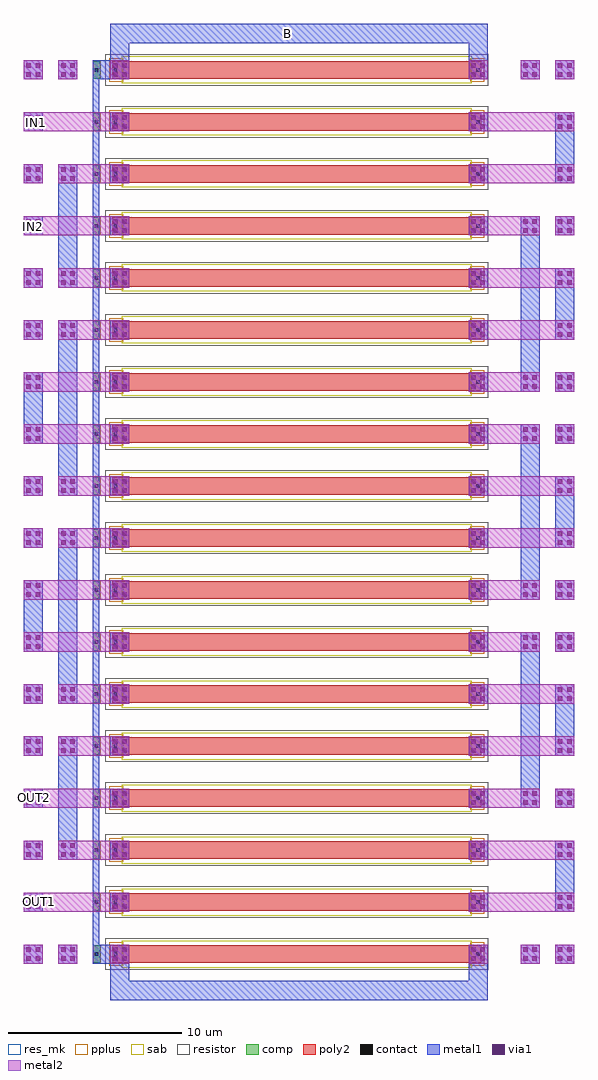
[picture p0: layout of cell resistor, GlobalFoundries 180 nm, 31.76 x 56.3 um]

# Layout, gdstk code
import gdstk
lib = gdstk.Library(unit=1e-6, precision=1e-09)
def R(c, l, rs):  # rectangles x0, y0, x1, y1
    for r in rs: c.add(gdstk.rectangle(r[:2], r[2:], *l))
comp = (22, 0)
poly2 = (30, 0)
pplus = (31, 0)
contact = (33, 0)
metal1 = (34, 0)
via1 = (35, 0)
metal2 = (36, 0)
sab = (49, 0)
resistor = (62, 0)
res_mk = (110, 5)

via_m1_m2_1_1_1_1 = lib.new_cell('via_M1_M2_1.1_1.1')
R(via_m1_m2_1_1_1_1, metal1, [(-0.55,-0.55,0.55,0.55)])
R(via_m1_m2_1_1_1_1, via1, [(-0.395,-0.395,-0.135,-0.135), (0.135,-0.395,0.395,-0.135), (-0.395,0.135,-0.135,0.395), (0.135,0.135,0.395,0.395)])
R(via_m1_m2_1_1_1_1, metal2, [(-0.55,-0.55,0.55,0.55)])

res_dev = lib.new_cell('res_dev')
R(res_dev, comp, [(-1.89,0,-1.47,1)])
R(res_dev, poly2, [(-0.77,0,20.51,1)])
R(res_dev, pplus, [(-0.95,-0.18,-0.13,1.18), (19.87,-0.18,20.69,1.18), (-1.91,-0.02,-1.45,1.02)])
R(res_dev, contact, [(-1.79,0.39,-1.57,0.61), (-0.7,0.39,-0.48,0.61), (20.22,0.39,20.44,0.61)])
R(res_dev, metal1, [(-1.87,0.309,-1.49,0.691), (-0.78,0.309,-0.4,0.691), (20.14,0.309,20.52,0.691)])
R(res_dev, sab, [(-0.23,-0.28,19.97,1.28)])
R(res_dev, resistor, [(-1.17,-0.4,20.91,1.4)])
R(res_dev, res_mk, [(-0.13,0,19.87,1)])

resistor_ = lib.new_cell('resistor')
R(resistor_, metal1, [(-0.88,-2.15,20.88,-1.05), (-0.88,-2.15,0.22,1.05), (19.78,-2.15,20.88,1.05), (-1.89,-0.05,0.22,1.05), (24.78,3.43,25.88,6.63), (-3.88,6.28,-2.78,12.615), (22.78,9.355,23.88,18.58), (24.78,12.44,25.88,15.58), (-3.88,15.235,-2.78,24.595), (-5.88,18.32,-4.78,21.59), (22.78,21.395,23.88,30.555), (24.78,24.48,25.88,27.56), (-3.88,27.4,-2.78,36.48), (-5.88,30.425,-4.78,33.695), (22.78,33.17,23.88,42.59), (24.78,36.48,25.88,39.535), (-3.88,39.355,-2.78,45.685), (24.78,45.315,25.88,48.53), (-1.89,50.95,0.22,52.05), (-0.88,50.95,0.22,54.15), (19.78,50.95,20.88,54.15), (-0.88,53.05,20.88,54.15)])
R(resistor_, metal2, [(-5.31,2.95,-0.12,4.05), (20.155,2.95,25.435,4.05), (-3.23,5.95,-0.15,7.05), (20.245,5.95,25.22,7.05), (-5.365,8.95,-0.195,10.05), (20.415,8.95,23.29,10.05), (-3.59,11.95,-0.09,13.05), (20.365,11.95,25.16,13.05), (-3.35,14.95,-0.15,16.05), (20.125,14.95,25.525,16.05), (-5.365,17.95,-0.26,19.05), (20.28,17.95,23.355,19.05), (-5.495,20.95,-0.325,22.05), (20.28,20.95,23.555,22.05), (-3.35,23.95,-0.24,25.05), (20.065,23.95,25.495,25.05), (-3.3,26.95,-0.415,28.05), (20.47,26.95,25.255,28.05), (-5.45,29.95,-0.435,31.05), (20.225,29.95,23.555,31.05), (-5.345,32.95,-0.325,34.05), (20.065,32.95,23.28,34.05), (-3.385,35.95,-0.495,37.05), (20.385,35.95,25.42,37.05), (-3.57,38.95,-0.38,40.05), (20.305,38.95,25.175,40.05), (-5.505,41.95,-0.11,43.05), (20.39,41.95,23.5,43.05), (-3.425,44.95,-0.205,46.05), (20.43,44.95,25.55,46.05), (-5.32,47.95,-0.195,49.05), (20.315,47.95,25.27,49.05)])
resistor_.add(gdstk.FlexPath([(-1.7,52.05),(-1.7,-0.05)], 0.38, ends="flush", simple_path=True, layer=34, datatype=0))  # metal1
resistor_.add(gdstk.Reference(via_m1_m2_1_1_1_1, (23.33,0.5)))
resistor_.add(gdstk.Reference(via_m1_m2_1_1_1_1, (23.33,9.5)))
resistor_.add(gdstk.Reference(via_m1_m2_1_1_1_1, (23.33,18.5)))
resistor_.add(gdstk.Reference(via_m1_m2_1_1_1_1, (23.33,21.5)))
resistor_.add(gdstk.Reference(via_m1_m2_1_1_1_1, (23.33,30.5)))
resistor_.add(gdstk.Reference(via_m1_m2_1_1_1_1, (23.33,33.5)))
resistor_.add(gdstk.Reference(via_m1_m2_1_1_1_1, (23.33,42.5)))
resistor_.add(gdstk.Reference(via_m1_m2_1_1_1_1, (23.33,51.5)))
resistor_.add(gdstk.Reference(via_m1_m2_1_1_1_1, (25.33,0.5)))
resistor_.add(gdstk.Reference(via_m1_m2_1_1_1_1, (25.33,3.5)))
resistor_.add(gdstk.Reference(via_m1_m2_1_1_1_1, (25.33,6.5)))
resistor_.add(gdstk.Reference(via_m1_m2_1_1_1_1, (25.33,9.5)))
resistor_.add(gdstk.Reference(via_m1_m2_1_1_1_1, (25.33,12.5)))
resistor_.add(gdstk.Reference(via_m1_m2_1_1_1_1, (25.33,15.5)))
resistor_.add(gdstk.Reference(via_m1_m2_1_1_1_1, (25.33,18.5)))
resistor_.add(gdstk.Reference(via_m1_m2_1_1_1_1, (25.33,21.5)))
resistor_.add(gdstk.Reference(via_m1_m2_1_1_1_1, (25.33,24.5)))
resistor_.add(gdstk.Reference(via_m1_m2_1_1_1_1, (25.33,27.5)))
resistor_.add(gdstk.Reference(via_m1_m2_1_1_1_1, (25.33,30.5)))
resistor_.add(gdstk.Reference(via_m1_m2_1_1_1_1, (25.33,33.5)))
resistor_.add(gdstk.Reference(via_m1_m2_1_1_1_1, (25.33,36.5)))
resistor_.add(gdstk.Reference(via_m1_m2_1_1_1_1, (25.33,39.5)))
resistor_.add(gdstk.Reference(via_m1_m2_1_1_1_1, (25.33,42.5)))
resistor_.add(gdstk.Reference(via_m1_m2_1_1_1_1, (25.33,45.5)))
resistor_.add(gdstk.Reference(via_m1_m2_1_1_1_1, (25.33,48.5)))
resistor_.add(gdstk.Reference(via_m1_m2_1_1_1_1, (25.33,51.5)))
r = gdstk.Reference(res_dev, (0,0)); r.repetition = gdstk.Repetition(1, 18, v1=(0,0), v2=(0,3)); resistor_.add(r)
resistor_.add(gdstk.Reference(via_m1_m2_1_1_1_1, (-5.33,3.5)))
r = gdstk.Reference(via_m1_m2_1_1_1_1, (-0.33,0.5)); r.repetition = gdstk.Repetition(2, 18, v1=(20.66,0), v2=(0,3)); resistor_.add(r)
resistor_.add(gdstk.Reference(via_m1_m2_1_1_1_1, (-5.33,51.5)))
resistor_.add(gdstk.Reference(via_m1_m2_1_1_1_1, (-5.33,48.5)))
resistor_.add(gdstk.Reference(via_m1_m2_1_1_1_1, (-5.33,45.5)))
resistor_.add(gdstk.Reference(via_m1_m2_1_1_1_1, (-5.33,42.5)))
resistor_.add(gdstk.Reference(via_m1_m2_1_1_1_1, (-5.33,39.5)))
resistor_.add(gdstk.Reference(via_m1_m2_1_1_1_1, (-5.33,36.5)))
resistor_.add(gdstk.Reference(via_m1_m2_1_1_1_1, (-5.33,33.5)))
resistor_.add(gdstk.Reference(via_m1_m2_1_1_1_1, (-5.33,30.5)))
resistor_.add(gdstk.Reference(via_m1_m2_1_1_1_1, (-5.33,27.5)))
resistor_.add(gdstk.Reference(via_m1_m2_1_1_1_1, (-5.33,24.5)))
resistor_.add(gdstk.Reference(via_m1_m2_1_1_1_1, (-5.33,21.5)))
resistor_.add(gdstk.Reference(via_m1_m2_1_1_1_1, (-5.33,18.5)))
resistor_.add(gdstk.Reference(via_m1_m2_1_1_1_1, (-5.33,15.5)))
resistor_.add(gdstk.Reference(via_m1_m2_1_1_1_1, (-5.33,12.5)))
resistor_.add(gdstk.Reference(via_m1_m2_1_1_1_1, (-5.33,9.5)))
resistor_.add(gdstk.Reference(via_m1_m2_1_1_1_1, (-5.33,6.5)))
resistor_.add(gdstk.Reference(via_m1_m2_1_1_1_1, (-5.33,0.5)))
resistor_.add(gdstk.Reference(via_m1_m2_1_1_1_1, (-3.33,51.5)))
resistor_.add(gdstk.Reference(via_m1_m2_1_1_1_1, (-3.33,45.5)))
resistor_.add(gdstk.Reference(via_m1_m2_1_1_1_1, (-3.33,39.5)))
resistor_.add(gdstk.Reference(via_m1_m2_1_1_1_1, (-3.33,36.5)))
resistor_.add(gdstk.Reference(via_m1_m2_1_1_1_1, (-3.33,27.5)))
resistor_.add(gdstk.Reference(via_m1_m2_1_1_1_1, (-3.33,24.5)))
resistor_.add(gdstk.Reference(via_m1_m2_1_1_1_1, (-3.33,15.5)))
resistor_.add(gdstk.Reference(via_m1_m2_1_1_1_1, (-3.33,12.5)))
resistor_.add(gdstk.Reference(via_m1_m2_1_1_1_1, (-3.33,6.5)))
resistor_.add(gdstk.Reference(via_m1_m2_1_1_1_1, (-3.33,0.5)))
resistor_.add(gdstk.Label('B', (9.34,53.595), layer=34, texttype=10))
resistor_.add(gdstk.Label('OUT2', (-5.28,9.51), layer=36, texttype=10))
resistor_.add(gdstk.Label('IN2', (-5.33,42.495), layer=36, texttype=10))
resistor_.add(gdstk.Label('IN1', (-5.15,48.455), layer=36, texttype=10))
resistor_.add(gdstk.Label('OUT1', (-4.995,3.51), layer=36, texttype=10))

lib.write_gds('resistor.gds')
